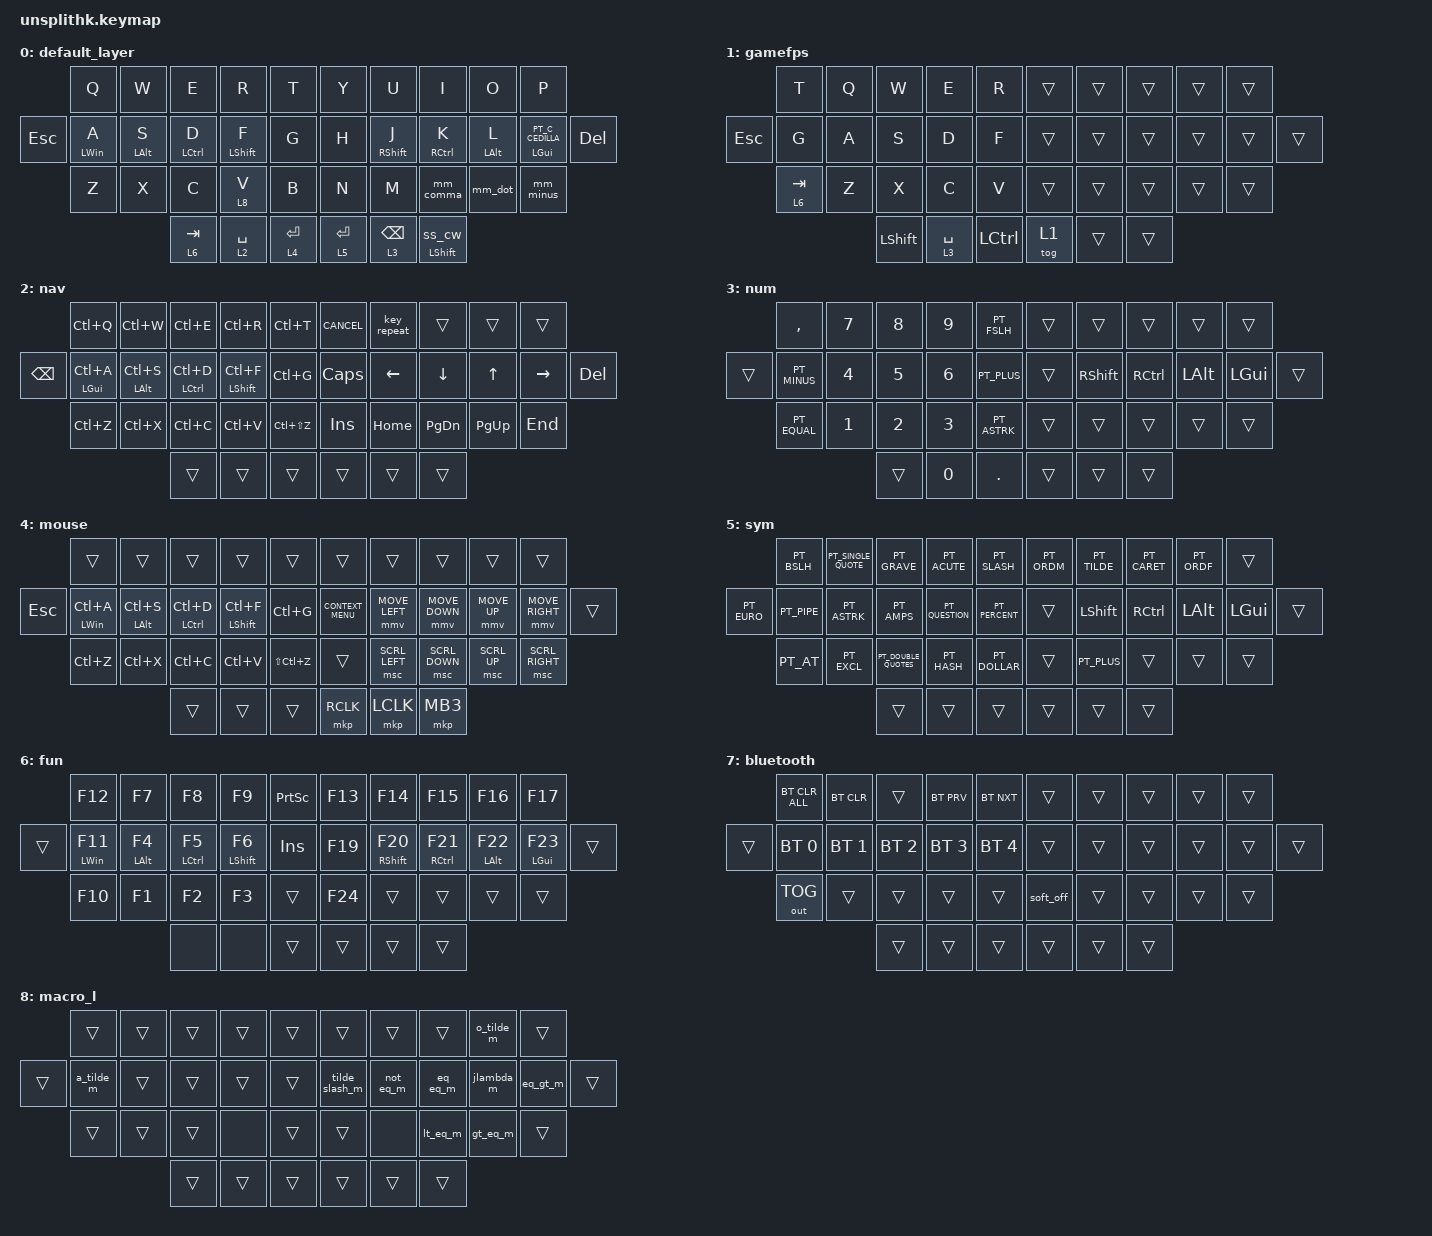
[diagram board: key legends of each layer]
/*
 * Copyright (c) 2020 The ZMK Contributors
 *
 * SPDX-License-Identifier: MIT
 */

#define ZMK_POINTING_DEFAULT_MOVE_VAL 1500  // Faster mouse pointer speed
#define ZMK_POINTING_DEFAULT_SCRL_VAL 20    // Faster scrolling speed

#include <behaviors.dtsi>
#include <dt-bindings/zmk/bt.h>
#include <dt-bindings/zmk/keys.h>
#include <dt-bindings/zmk/outputs.h>
#include <dt-bindings/zmk/pointing.h>
#include "keys_pt.h"

&caps_word { continue-list = <PT_UNDERSCORE PT_MINUS PT_SINGLE_QUOTE BACKSPACE DEL PT_C_CEDILLA PT_TILDE PT_ACUTE PT_GRAVE PT_CARET>; };

&mmv {
    acceleration-exponent = <1>;      // 1: uniform acceleration
    time-to-max-speed-ms = <300>;     // reach max speed in 300ms instead of 500ms
    delay-ms = <0>;                   // zero delay on press
};

&msc {
    acceleration-exponent = <1>;
    time-to-max-speed-ms = <300>;
    delay-ms = <0>;
};

/ {
    // -------------------unsplithk---------------------------------------
    // |    |  0 |  1 |  2 |  3 |  4 | |  5 |  6 |  7 |  8 |  9 |    |
    // | 10 | 11 | 12 | 13 | 14 | 15 | | 16 | 17 | 18 | 19 | 20 | 21 |
    // |    | 22 | 23 | 24 | 25 | 26 | | 27 | 28 | 29 | 30 | 31 |    |
    // |    |    |    | 32 | 33 | 34 | | 35 | 36 | 37 |    |    |    |

    combos {
        compatible = "zmk,combos";

        lessthan {
            bindings = <&hml_combo LA(LCTRL) PT_LESS_THAN>;
            key-positions = <12 13>;
            require-prior-idle-ms = <50>;
            timeout-ms = <50>;
        };

        openbrace {
            bindings = <&hmr_combo RS(RCTRL) PT_LEFT_BRACE>;
            key-positions = <17 18>;
            require-prior-idle-ms = <50>;
            timeout-ms = <50>;
        };

        openparent {
            bindings = <&kp PT_LEFT_PARENTHESIS>;
            key-positions = <6 7>;
            require-prior-idle-ms = <50>;
            timeout-ms = <50>;
        };

        openbraket {
            bindings = <&kp PT_LEFT_BRACKET>;
            key-positions = <28 29>;
            require-prior-idle-ms = <50>;
            timeout-ms = <50>;
        };

        closebrace {
            bindings = <&hmr_combo LA(RCTRL) PT_RIGHT_BRACE>;
            key-positions = <18 19>;
            require-prior-idle-ms = <50>;
            timeout-ms = <50>;
        };

        closegreater {
            bindings = <&hml_combo LS(LCTRL) PT_GREATER_THAN>;
            key-positions = <13 14>;
            require-prior-idle-ms = <50>;
            timeout-ms = <50>;
        };

        closeparent {
            bindings = <&kp PT_RIGHT_PARENTHESIS>;
            key-positions = <7 8>;
            require-prior-idle-ms = <50>;
            timeout-ms = <50>;
        };

        closebracket {
            bindings = <&kp PT_RIGHT_BRACKET>;
            key-positions = <29 30>;
            require-prior-idle-ms = <50>;
            timeout-ms = <50>;
        };

        bluetoothlayer {
            bindings = <&mo 7>;
            key-positions = <35 36 37>;
        };

        none_layer {
            bindings = <&soft_off>;
            key-positions = <10 21>;
            layers = <0>;
        };

        combo_sym_equal {
            bindings = <&hmr_combo LA(RCTRL) PT_EQUAL>;
            key-positions = <17 19>;
            require-prior-idle-ms = <50>;
            timeout-ms = <50>;
        };

        gamelayer {
            bindings = <&tog 1>;
            key-positions = <32 33 34>;
        };
    };

    conditional_layers { compatible = "zmk,conditional-layers"; };

    behaviors {
        hml: homerow_mods_left {
            compatible = "zmk,behavior-hold-tap";
            bindings = <&kp>, <&kp>;

            #binding-cells = <2>;
            tapping-term-ms = <280>;
            quick-tap-ms = <175>;
            flavor = "balanced";
            hold-trigger-key-positions = <5 6 7 8 9 16 17 18 19 20 21 27 28 29 30 31 35 36 37 34>;
            require-prior-idle-ms = <150>;
            hold-trigger-on-release;
        };

        hmr: homerow_mods_right {
            compatible = "zmk,behavior-hold-tap";
            bindings = <&kp>, <&kp>;

            #binding-cells = <2>;
            tapping-term-ms = <280>;
            quick-tap-ms = <175>;
            flavor = "balanced";
            hold-trigger-key-positions = <0 1 2 3 4 10 11 12 13 14 15 22 23 24 25 26 34 33 32 35>;
            require-prior-idle-ms = <150>;
            hold-trigger-on-release;
        };

        hml_shift: homerow_mods_left_shift {
            compatible = "zmk,behavior-hold-tap";
            bindings = <&kp>, <&kp>;

            #binding-cells = <2>;
            tapping-term-ms = <280>;
            quick-tap-ms = <175>;
            flavor = "balanced";
            hold-trigger-key-positions = <5 6 7 8 9 16 17 18 19 20 21 27 28 29 30 31 35 36 37 34>;
            require-prior-idle-ms = <150>;

            // Removing hold-trigger-on-release allows Shift to activate instantly on cross-hand key press
        };

        hmr_shift: homerow_mods_right_shift {
            compatible = "zmk,behavior-hold-tap";
            bindings = <&kp>, <&kp>;

            #binding-cells = <2>;
            tapping-term-ms = <280>;
            quick-tap-ms = <175>;
            flavor = "balanced";
            hold-trigger-key-positions = <0 1 2 3 4 10 11 12 13 14 15 22 23 24 25 26 34 33 32 35>;
            require-prior-idle-ms = <150>;

            // Removing hold-trigger-on-release allows Shift to activate instantly on cross-hand key press
        };

        td_hold_tap: td_hold_tap {
            compatible = "zmk,behavior-hold-tap";
            bindings = <&kp>, <&kp>;

            #binding-cells = <2>;
            tapping-term-ms = <170>;
            flavor = "hold-preferred";
            hold-trigger-key-positions = <0 1 2 3 4 10 11 12 13 14 15 22 23 24 25 26>;
        };

        lt_k_repeat: lt_k_repeat {
            compatible = "zmk,behavior-hold-tap";
            bindings = <&mo>, <&kp>;

            #binding-cells = <2>;
            tapping-term-ms = <200>;
            quick-tap-ms = <175>;
            flavor = "tap-preferred";
        };

        lrow_layer_to: lrow_layer_to {
            compatible = "zmk,behavior-hold-tap";
            bindings = <&mo>, <&kp>;

            #binding-cells = <2>;
            tapping-term-ms = <280>;
            quick-tap-ms = <175>;
            flavor = "balanced";
            hold-trigger-key-positions = <5 6 7 8 9 16 17 18 19 20 21 27 28 29 30 31 35 36 37 34>;
            require-prior-idle-ms = <150>;
            hold-trigger-on-release;
        };

        ss_cw: ss_cw {
            compatible = "zmk,behavior-mod-morph";
            bindings = <&sk LEFT_SHIFT>, <&caps_word>;

            #binding-cells = <0>;
            mods = <(MOD_LSFT)>;
        };

        shift_all: shift_all {
            compatible = "zmk,behavior-hold-tap";
            bindings = <&kp>, <&ss_cw>;

            #binding-cells = <2>;
            tapping-term-ms = <200>;
        };

        mm_comma: mm_comma {
            compatible = "zmk,behavior-mod-morph";
            bindings = <&kp COMMA>, <&kp PT_SEMICOLON>;

            #binding-cells = <0>;
            mods = <(MOD_LSFT|MOD_RSFT)>;
        };

        mm_dot: mm_dot {
            compatible = "zmk,behavior-mod-morph";
            bindings = <&kp DOT>, <&kp PT_COLON>;

            #binding-cells = <0>;
            mods = <(MOD_LSFT|MOD_RSFT)>;
        };

        mm_minus: mm_minus {
            compatible = "zmk,behavior-mod-morph";
            bindings = <&kp PT_MINUS>, <&kp PT_UNDERSCORE>;

            #binding-cells = <0>;
            mods = <(MOD_LSFT|MOD_RSFT)>;
        };

        hmr_combo: homerow_mods_right_combo {
            compatible = "zmk,behavior-hold-tap";
            bindings = <&kp>, <&kp>;

            #binding-cells = <2>;
            tapping-term-ms = <280>;
            quick-tap-ms = <175>;
            flavor = "balanced";
            hold-trigger-key-positions = <0 1 2 3 4 10 11 12 13 14 15 22 23 24 25 26 34 33 32 35>;
            require-prior-idle-ms = <150>;
            hold-trigger-on-release;
        };

        hml_combo: homerow_mods_left_combo {
            compatible = "zmk,behavior-hold-tap";
            bindings = <&kp>, <&kp>;

            #binding-cells = <2>;
            tapping-term-ms = <280>;
            quick-tap-ms = <175>;
            flavor = "balanced";
            hold-trigger-key-positions = <34 35 36 37 27 16 5 6 17 28 7 18 29 8 19 9 20 31 30 21>;
            require-prior-idle-ms = <150>;
            hold-trigger-on-release;
        };
    };

    macros {
        eq_eq_m: eq_eq_m {
            compatible = "zmk,behavior-macro";
            #binding-cells = <0>;
            wait-ms = <15>;
            tap-ms = <15>;
            bindings = <&kp PT_EQUAL &kp PT_EQUAL>;
        };

        not_eq_m: not_eq_m {
            compatible = "zmk,behavior-macro";
            #binding-cells = <0>;
            wait-ms = <15>;
            tap-ms = <15>;
            bindings = <&kp PT_EXCL &kp PT_EQUAL>;
        };

        jlambda_m: jlambda {
            compatible = "zmk,behavior-macro";
            #binding-cells = <0>;
            wait-ms = <15>;
            tap-ms = <15>;
            bindings = <&kp PT_MINUS &kp PT_GT>;
        };

        eq_gt_m: eq_gt_m {
            compatible = "zmk,behavior-macro";
            #binding-cells = <0>;
            wait-ms = <15>;
            tap-ms = <15>;
            bindings = <&kp PT_EQUAL &kp PT_GT>;
        };

        a_tilde_m: a_till_m {
            compatible = "zmk,behavior-macro";
            #binding-cells = <0>;
            wait-ms = <15>;
            tap-ms = <15>;
            bindings = <&kp PT_TILDE &kp PT_A>;
        };

        o_tilde_m: o_tilde_m {
            compatible = "zmk,behavior-macro";
            #binding-cells = <0>;
            wait-ms = <15>;
            tap-ms = <15>;
            bindings = <&kp PT_TILDE &kp PT_O>;
        };

        gt_eq_m: qt_eq_m {
            compatible = "zmk,behavior-macro";
            #binding-cells = <0>;
            wait-ms = <15>;
            tap-ms = <15>;
            bindings = <&kp PT_GT &kp PT_EQUAL>;
        };

        lt_eq_m: lt_eq_m {
            compatible = "zmk,behavior-macro";
            #binding-cells = <0>;
            wait-ms = <15>;
            tap-ms = <15>;
            bindings = <&kp PT_LT &kp PT_EQUAL>;
        };

        tilde_slash_m: tilde_slash_m {
            compatible = "zmk,behavior-macro";
            #binding-cells = <0>;
            wait-ms = <15>;
            tap-ms = <15>;
            bindings = <&kp PT_TILDE &kp PT_SPACE &kp PT_SLASH>;
        };

        mc_cancel: mc_cancel {
            compatible = "zmk,behavior-macro";
            #binding-cells = <0>;
            bindings = <&kp K_CANCEL>;
        };
    };

    keymap {
        compatible = "zmk,keymap";

        default_layer {
            // ------------------------------------------------------------------------------------------------------------
            // |       |  Q  |  W  |  E   |  R   |  T   |                   |  Y   |  U    |  I    |  O   |   P   |       |
            // | ESC   |  A  |  S  |  D   |  F   |  G   |                   |  H   |  J    |  K    |  L   |   Ç   |  DEL  |
            // |       |  Z  |  X  |  C   |  V   |  B   |                   |  N   |  M    |  ,    |  .   |   -   |       |
            //                     | CTRL | SPC  | MOUS |                   | RSE  |  ENT  |  SPC  |

            bindings = <
         &kp Q        &kp W        &kp E               &kp R                 &kp T                   &kp Y                 &kp U                     &kp I                    &kp O            &kp P
&kp ESC  &hml LWIN A  &hml LALT S  &hml LCTRL D        &hml_shift LSHFT F    &kp G                   &kp H                 &hmr_shift RIGHT_SHIFT J  &hmr RCTRL K             &hmr LEFT_ALT L  &hmr LEFT_GUI PT_C_CEDILLA  &kp DEL
         &kp Z        &kp X        &kp C               &lrow_layer_to 8 V    &kp B                   &kp N                 &kp M                     &mm_comma                &mm_dot          &mm_minus
                                   &lt_k_repeat 6 TAB  &lt_k_repeat 2 SPACE  &lt_k_repeat 4 ENTER    &lt_k_repeat 5 ENTER  &lt_k_repeat 3 BACKSPACE  &shift_all LEFT_SHIFT 0
            >;
        };

        gamefps {
            bindings = <
         &kp T               &kp Q  &kp W      &kp E                 &kp R        &trans  &trans  &trans  &trans  &trans
&kp ESC  &kp G               &kp A  &kp S      &kp D                 &kp F        &trans  &trans  &trans  &trans  &trans  &trans
         &lt_k_repeat 6 TAB  &kp Z  &kp X      &kp C                 &kp V        &trans  &trans  &trans  &trans  &trans
                                    &kp LSHFT  &lt_k_repeat 3 SPACE  &kp LCTRL    &tog 1  &trans  &trans
            >;
        };

        nav {
            bindings = <
               &kp LC(Q)            &kp LC(W)            &kp LC(E)                &kp LC(R)              &kp LC(T)        &kp K_CANCEL  &key_repeat  &trans          &trans        &trans
&kp BACKSPACE  &hml LEFT_GUI LC(A)  &hml LEFT_ALT LC(S)  &hml LEFT_CONTROL LC(D)  &hml LEFT_SHIFT LC(F)  &kp LC(G)        &kp CLCK      &kp LEFT     &kp DOWN_ARROW  &kp UP_ARROW  &kp RIGHT  &kp DEL
               &kp LC(Z)            &kp LC(X)            &kp LC(C)                &kp LC(V)              &kp LC(LS(Z))    &kp INS       &kp HOME     &kp PAGE_DOWN   &kp PAGE_UP   &kp END
                                                         &trans                   &trans                 &trans           &trans        &trans       &trans
            >;
        };

        num {
            bindings = <
        &kp COMMA     &kp N7  &kp N8  &kp N9        &kp PT_FSLH     &trans  &trans     &trans     &trans    &trans
&trans  &kp PT_MINUS  &kp N4  &kp N5  &kp N6        &kp PT_PLUS     &trans  &kp RSHFT  &kp RCTRL  &kp LALT  &kp LGUI  &trans
        &kp PT_EQUAL  &kp N1  &kp N2  &kp N3        &kp PT_ASTRK    &trans  &trans     &trans     &trans    &trans
                              &trans  &kp NUMBER_0  &kp DOT         &trans  &trans     &trans
            >;
        };

        mouse {
            bindings = <
         &trans           &trans           &trans            &trans            &trans           &trans              &trans          &trans          &trans        &trans
&kp ESC  &hml LWIN LC(A)  &hml LALT LC(S)  &hml LCTRL LC(D)  &hml LSHFT LC(F)  &kp LC(G)        &kp K_CONTEXT_MENU  &mmv MOVE_LEFT  &mmv MOVE_DOWN  &mmv MOVE_UP  &mmv MOVE_RIGHT  &trans
         &kp LC(Z)        &kp LC(X)        &kp LC(C)         &kp LC(V)         &kp LS(LC(Z))    &trans              &msc SCRL_LEFT  &msc SCRL_DOWN  &msc SCRL_UP  &msc SCRL_RIGHT
                                           &trans            &trans            &trans           &mkp RCLK           &mkp LCLK       &mkp MB3
            >;
        };

        sym {
            bindings = <
             &kp PT_BSLH  &kp PT_SINGLE_QUOTE  &kp PT_GRAVE          &kp PT_ACUTE     &kp PT_SLASH      &kp PT_ORDM  &kp PT_TILDE  &kp PT_CARET  &kp PT_ORDF  &trans
&kp PT_EURO  &kp PT_PIPE  &kp PT_ASTRK         &kp PT_AMPS           &kp PT_QUESTION  &kp PT_PERCENT    &trans       &kp LSHFT     &kp RCTRL     &kp LALT     &kp LGUI  &trans
             &kp PT_AT    &kp PT_EXCL          &kp PT_DOUBLE_QUOTES  &kp PT_HASH      &kp PT_DOLLAR     &trans       &kp PT_PLUS   &trans        &trans       &trans
                                               &trans                &trans           &trans            &trans       &trans        &trans
            >;
        };

        fun {
            bindings = <
        &kp F12        &kp F7            &kp F8                &kp F9                    &kp PRINTSCREEN    &kp F13  &kp F14               &kp F15         &kp F16            &kp F17
&trans  &hml LWIN F11  &hml LEFT_ALT F4  &hml LEFT_CONTROL F5  &hml_shift LEFT_SHIFT F6  &kp INSERT         &kp F19  &hmr_shift RSHFT F20  &hmr RCTRL F21  &hmr LEFT_ALT F22  &hmr LGUI F23  &trans
        &kp F10        &kp F1            &kp F2                &kp F3                    &trans             &kp F24  &trans                &trans          &trans             &trans
                                         &none                 &none                     &trans             &trans   &trans                &trans
            >;
        };

        bluetooth {
            bindings = <
        &bt BT_CLR_ALL  &bt BT_CLR    &trans        &bt BT_PRV    &bt BT_NXT      &trans     &trans  &trans  &trans  &trans
&trans  &bt BT_SEL 0    &bt BT_SEL 1  &bt BT_SEL 2  &bt BT_SEL 3  &bt BT_SEL 4    &trans     &trans  &trans  &trans  &trans  &trans
        &out OUT_TOG    &trans        &trans        &trans        &trans          &soft_off  &trans  &trans  &trans  &trans
                                      &trans        &trans        &trans          &trans     &trans  &trans
            >;
        };

        macro_l {
            bindings = <
        &trans      &trans  &trans  &trans  &trans    &trans          &trans     &trans    &o_tilde_m  &trans
&trans  &a_tilde_m  &trans  &trans  &trans  &trans    &tilde_slash_m  &not_eq_m  &eq_eq_m  &jlambda_m  &eq_gt_m  &trans
        &trans      &trans  &trans  &none   &trans    &trans          &none      &lt_eq_m  &gt_eq_m    &trans
                            &trans  &trans  &trans    &trans          &trans     &trans
            >;
        };
    };
};
